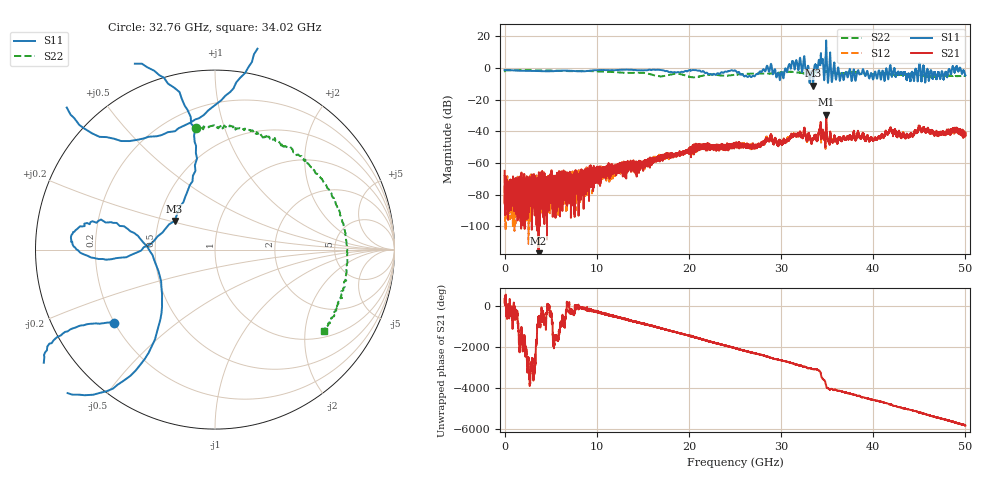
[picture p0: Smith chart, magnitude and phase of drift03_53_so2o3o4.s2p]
!Created with skrf (http://scikit-rf.org).
# Hz S RI R 50.0
!freq ReS11 ImS11 ReS21 ImS21 ReS12 ImS12 ReS22 ImS22
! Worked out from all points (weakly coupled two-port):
!   10001 points, 300 kHz to 50 GHz, reference 50 ohm
!   highest |S21| = -29.51 dB at 34.89 GHz (marker M1); lowest = -117.2 dB at 3.68 GHz (marker M2)
!   lowest |S11| = -11.2 dB at 33.47 GHz (marker M3), VSWR 1.76, Z = 30.2 + j10.5 ohm
!   |S11| at or under -10 dB: 33.44793 GHz to 33.48412 GHz (36.19 MHz wide, 0.108 % of centre)
!   |S22| runs from -5.9 to -1.3 dB; largest |S21 - S12| = 0.008
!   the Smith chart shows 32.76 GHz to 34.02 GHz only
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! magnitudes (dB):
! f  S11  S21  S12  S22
! 300 kHz  -1.3  -65.0  -67.5  -2.0
! 300.3 MHz  -1.3  -76.8  -73.8  -1.4
! 3.68 GHz  -1.9  -117.2  -71.5  -1.6
! 8.335 GHz  -2.2  -66.7  -73.1  -1.9
! 16.67 GHz  -1.1  -56.3  -57.1  -5.2
! 25 GHz  -1.5  -49.2  -48.2  -4.3
! 26.92 GHz  -4.9  -49.8  -49.4  -3.5
! 28.73 GHz  -2.2  -45.5  -46.1  -3.5
! 30.06 GHz  -2.5  -47.5  -47.9  -2.8
! 31.87 GHz  -1.4  -42.7  -41.9  -2.9
! 33.34 GHz  -2.2  -47.6  -47.1  -2.9
! 33.47 GHz  -11.2  -45.1  -44.9  -2.8
! 34.29 GHz  6.1  -36.4  -35.5  -2.3
! 34.89 GHz  17.4  -29.5  -31.8  -2.3
! 36.58 GHz  -3.4  -46.0  -46.3  -3.6
! 40.17 GHz  -2.6  -44.9  -44.4  -3.7
! 41.67 GHz  -5.4  -41.1  -40.6  -3.6
! 43.84 GHz  -3.5  -43.4  -43.2  -3.8
! 45.2 GHz  -7.0  -38.7  -39.5  -4.5
! 47.06 GHz  -2.6  -42.3  -43.1  -5.0
! 49.21 GHz  -2.0  -40.0  -39.9  -5.2
! 50 GHz  -4.7  -42.4  -42.8  -4.9
